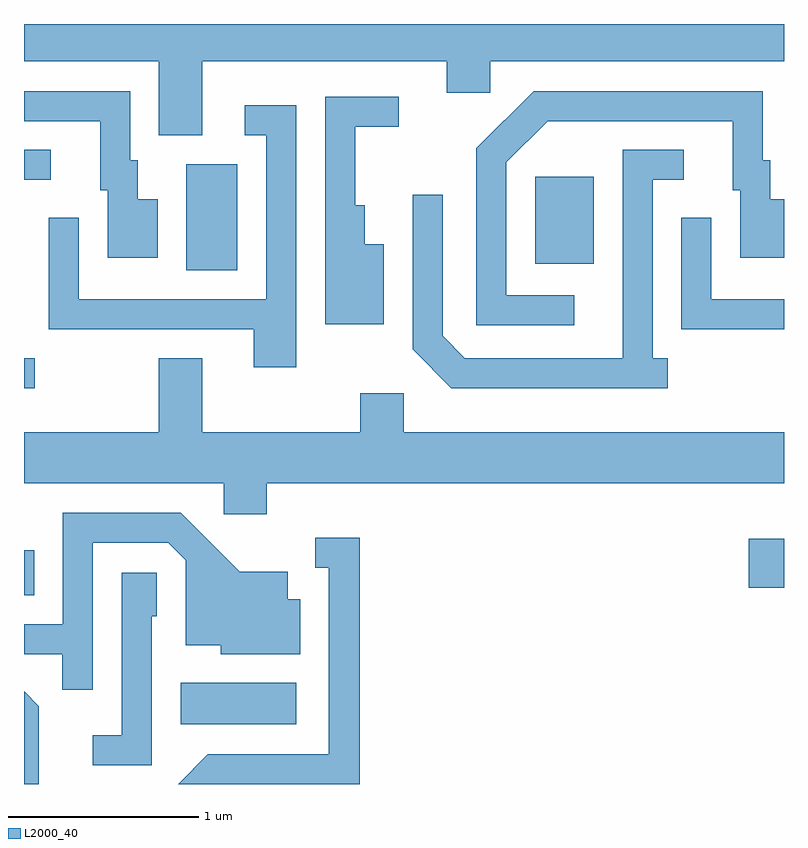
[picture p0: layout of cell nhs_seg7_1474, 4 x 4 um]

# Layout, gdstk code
import gdstk
lib = gdstk.Library(unit=1e-6, precision=1e-09)
def R(c, l, rs):  # rectangles x0, y0, x1, y1
    for r in rs: c.add(gdstk.rectangle(r[:2], r[2:], *l))
def P(c, l, *ps):  # polygons
    for p in ps: c.add(gdstk.Polygon(p, *l))
L2000_40 = (2000, 40)

nhs_seg7_1474 = lib.new_cell('nhs_seg7_1474')
R(nhs_seg7_1474, L2000_40, [(230.436,1748.566,231.044,1748.784), (229.611,1749.246,229.664,1749.483), (233.426,1749.286,233.611,1749.544), (229.611,1750.336,229.668,1750.494), (230.466,1750.956,230.734,1751.514), (232.301,1750.991,232.609,1751.449), (229.611,1751.431,229.753,1751.589)])
P(nhs_seg7_1474, L2000_40, [(230.549,1752.056),(231.836,1752.056),(231.836,1751.891),(232.064,1751.891),(232.064,1752.056),(233.611,1752.056),(233.611,1752.252),(229.611,1752.252),(229.611,1752.056),(230.321,1752.056),(230.321,1751.666),(230.549,1751.666)],
  [(230.314,1751.329),(230.209,1751.329),(230.209,1751.534),(230.169,1751.534),(230.169,1751.899),(229.611,1751.899),(229.611,1751.741),(230.011,1751.741),(230.011,1751.376),(230.051,1751.376),(230.051,1751.021),(230.314,1751.021)],
  [(232.508,1750.824),(232.149,1750.824),(232.149,1751.524),(232.367,1751.741),(233.341,1751.741),(233.341,1751.376),(233.381,1751.376),(233.381,1751.021),(233.611,1751.021),(233.611,1751.329),(233.539,1751.329),(233.539,1751.534),(233.499,1751.534),(233.499,1751.899),(232.294,1751.899),(231.991,1751.597),(231.991,1750.666),(232.508,1750.666)],
  [(231.504,1751.094),(231.404,1751.094),(231.404,1751.299),(231.354,1751.299),(231.354,1751.711),(231.583,1751.711),(231.583,1751.869),(231.196,1751.869),(231.196,1750.671),(231.504,1750.671)],
  [(231.044,1751.824),(230.773,1751.824),(230.773,1751.666),(230.886,1751.666),(230.886,1750.804),(229.899,1750.804),(229.899,1751.233),(229.741,1751.233),(229.741,1750.646),(230.821,1750.646),(230.821,1750.446),(231.044,1750.446)],
  [(232.998,1750.494),(232.919,1750.494),(232.919,1751.431),(233.083,1751.431),(233.083,1751.589),(232.761,1751.589),(232.761,1750.494),(231.932,1750.494),(231.814,1750.612),(231.814,1751.353),(231.656,1751.353),(231.656,1750.539),(231.859,1750.336),(232.998,1750.336)],
  [(233.611,1750.804),(233.229,1750.804),(233.229,1751.233),(233.071,1751.233),(233.071,1750.646),(233.611,1750.646)],
  [(230.889,1749.836),(233.611,1749.836),(233.611,1750.104),(231.609,1750.104),(231.609,1750.309),(231.381,1750.309),(231.381,1750.104),(230.549,1750.104),(230.549,1750.494),(230.321,1750.494),(230.321,1750.104),(229.611,1750.104),(229.611,1749.836),(230.661,1749.836),(230.661,1749.671),(230.889,1749.671)],
  [(229.974,1749.521),(230.369,1749.521),(230.461,1749.429),(230.461,1748.981),(230.646,1748.981),(230.646,1748.936),(231.064,1748.936),(231.064,1749.224),(230.999,1749.224),(230.999,1749.369),(230.747,1749.369),(230.437,1749.679),(229.816,1749.679),(229.816,1749.094),(229.611,1749.094),(229.611,1748.936),(229.811,1748.936),(229.811,1748.748),(229.974,1748.748)],
  [(231.379,1749.549),(231.143,1749.549),(231.143,1749.391),(231.216,1749.391),(231.216,1748.409),(230.579,1748.409),(230.422,1748.252),(231.379,1748.252)],
  [(230.284,1749.136),(230.309,1749.136),(230.309,1749.364),(230.126,1749.364),(230.126,1748.509),(229.973,1748.509),(229.973,1748.351),(230.284,1748.351)],
  [(229.689,1748.662),(229.611,1748.74),(229.611,1748.252),(229.689,1748.252)])

lib.write_gds('nhs_seg7_1474.gds')
